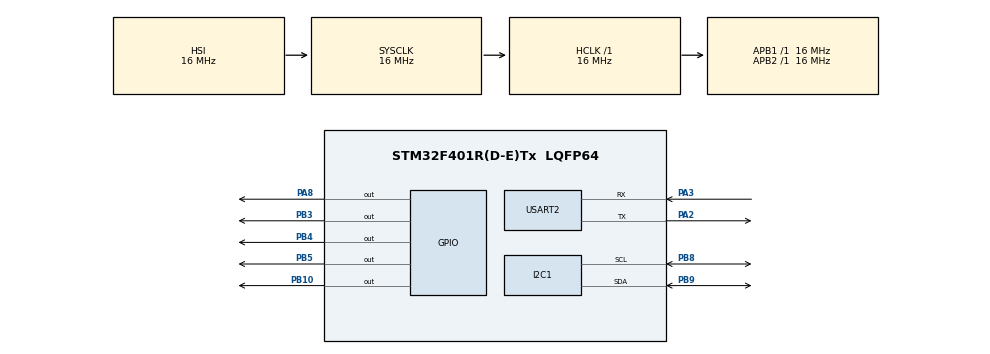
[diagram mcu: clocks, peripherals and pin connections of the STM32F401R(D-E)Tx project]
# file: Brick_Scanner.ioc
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Mcu.Family=STM32F4
Mcu.Name=STM32F401R(D-E)Tx
Mcu.Package=LQFP64
NVIC.PriorityGroup=NVIC_PRIORITYGROUP_4
PA2.Mode=Asynchronous
PA2.Signal=USART2_TX
PA3.Mode=Asynchronous
PA3.Signal=USART2_RX
PA8.Signal=GPIO_Output
PB10.Signal=GPIO_Output
PB3.Signal=GPIO_Output
PB4.Signal=GPIO_Output
PB5.Signal=GPIO_Output
PB8.Mode=I2C
PB8.Signal=I2C1_SCL
PB9.Mode=I2C
PB9.Signal=I2C1_SDA
ProjectManager.HeapSize=0x200
ProjectManager.StackSize=0x400
ProjectManager.TargetToolchain=STM32CubeIDE
RCC.48MHZClocksFreq_Value=48000000
RCC.AHBFreq_Value=16000000
RCC.APB1Freq_Value=16000000
RCC.APB1TimFreq_Value=16000000
RCC.APB2Freq_Value=16000000
RCC.APB2TimFreq_Value=16000000
RCC.CortexFreq_Value=16000000
RCC.HCLKFreq_Value=16000000
RCC.HSE_VALUE=25000000
RCC.HSI_VALUE=16000000
RCC.LSE_VALUE=32768
RCC.SYSCLKFreq_VALUE=16000000
RCC.VCOOutputFreq_Value=192000000
TIM1.Prescaler=16-1
USART2.VirtualMode=VM_ASYNC
VP_TIM1_VS_ClockSourceINT.Mode=Internal
board=custom

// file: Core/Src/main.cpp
/* USER CODE BEGIN Header */
/**
  ******************************************************************************
  * @file           : main.cpp
  * @brief          : Main program body
  ******************************************************************************
  * @attention
  *
  * Copyright (c) 2023 STMicroelectronics.
  * All rights reserved.
  *
  * This software is licensed under terms that can be found in the LICENSE file
  * in the root directory of this software component.
  * If no LICENSE file comes with this software, it is provided AS-IS.
  *
  ******************************************************************************
  */
/* USER CODE END Header */
#include <main.hpp>
#include <stepper.hpp>

I2C_HandleTypeDef hi2c1;

TIM_HandleTypeDef htim1;

UART_HandleTypeDef huart2;

void SystemClock_Config(void);
static void MX_GPIO_Init(void);
static void MX_I2C1_Init(void);
static void MX_USART2_UART_Init(void);
static void MX_TIM1_Init(void);

/* USER CODE BEGIN 0 */

void delay_us (uint32_t us)
{
	__HAL_TIM_SET_COUNTER(&htim1, 0);  // set the counter value a 0
	while (__HAL_TIM_GET_COUNTER(&htim1) < us);  // wait for the counter to reach the us input in the parameter
}

/* USER CODE END 0 */

int main(void)
{

  /* MCU Configuration--------------------------------------------------------*/

  /* Reset of all peripherals, Initializes the Flash interface and the Systick. */

	HAL_Init();

  /* Configure the system clock */
  SystemClock_Config();

  /* Initialize all configured peripherals */

  MX_GPIO_Init();
  MX_I2C1_Init();
  MX_USART2_UART_Init();
  MX_TIM1_Init();

  /* USER CODE BEGIN 2 */

  Pin base_step = Pin(GPIOB, GPIO_PIN_4);
  Pin base_direction = Pin(GPIOB, GPIO_PIN_10);
  Pin arm_step = Pin(GPIOB, GPIO_PIN_3);
  Pin arm_direction = Pin(GPIOB, GPIO_PIN_5);

  Pin arm_MS1 = Pin(GPIOA, GPIO_PIN_8);
  arm_MS1.write_pin(HIGH);

  Stepper base_motor = Stepper(&base_step, &base_direction, 8);
  Stepper arm_motor = Stepper(&arm_step, &arm_direction, 64*5);

  HAL_TIM_Base_Start(&htim1);

  /* USER CODE END 2 */

  /* Infinite loop */
  /* USER CODE BEGIN WHILE */
  while (1)
  {
	  arm_motor.rotate_angle(360, true, 60);
	  HAL_Delay(1000);
	  arm_motor.rotate_angle(360, false, 60);
	  HAL_Delay(1000);
	  //arm_motor.rotate_angle(360, false, 1000);
	  //HAL_Delay(1);

    /* USER CODE END WHILE */

  }
}

void SystemClock_Config(void)
{
  RCC_OscInitTypeDef RCC_OscInitStruct = {0};
  RCC_ClkInitTypeDef RCC_ClkInitStruct = {0};

  /** Configure the main internal regulator output voltage
  */
  __HAL_RCC_PWR_CLK_ENABLE();
  __HAL_PWR_VOLTAGESCALING_CONFIG(PWR_REGULATOR_VOLTAGE_SCALE2);

  /** Initializes the RCC Oscillators according to the specified parameters
  * in the RCC_OscInitTypeDef structure.
  */
  RCC_OscInitStruct.OscillatorType = RCC_OSCILLATORTYPE_HSI;
  RCC_OscInitStruct.HSIState = RCC_HSI_ON;
  RCC_OscInitStruct.HSICalibrationValue = RCC_HSICALIBRATION_DEFAULT;
  RCC_OscInitStruct.PLL.PLLState = RCC_PLL_NONE;
  if (HAL_RCC_OscConfig(&RCC_OscInitStruct) != HAL_OK)
  {
    Error_Handler();
  }

  /** Initializes the CPU, AHB and APB buses clocks
  */
  RCC_ClkInitStruct.ClockType = RCC_CLOCKTYPE_HCLK|RCC_CLOCKTYPE_SYSCLK
                              |RCC_CLOCKTYPE_PCLK1|RCC_CLOCKTYPE_PCLK2;
  RCC_ClkInitStruct.SYSCLKSource = RCC_SYSCLKSOURCE_HSI;
  RCC_ClkInitStruct.AHBCLKDivider = RCC_SYSCLK_DIV1;
  RCC_ClkInitStruct.APB1CLKDivider = RCC_HCLK_DIV1;
  RCC_ClkInitStruct.APB2CLKDivider = RCC_HCLK_DIV1;

  if (HAL_RCC_ClockConfig(&RCC_ClkInitStruct, FLASH_LATENCY_0) != HAL_OK)
  {
    Error_Handler();
  }
}

static void MX_I2C1_Init(void)
{

  hi2c1.Instance = I2C1;
  hi2c1.Init.ClockSpeed = 100000;
  hi2c1.Init.DutyCycle = I2C_DUTYCYCLE_2;
  hi2c1.Init.OwnAddress1 = 0;
  hi2c1.Init.AddressingMode = I2C_ADDRESSINGMODE_7BIT;
  hi2c1.Init.DualAddressMode = I2C_DUALADDRESS_DISABLE;
  hi2c1.Init.OwnAddress2 = 0;
  hi2c1.Init.GeneralCallMode = I2C_GENERALCALL_DISABLE;
  hi2c1.Init.NoStretchMode = I2C_NOSTRETCH_DISABLE;
  if (HAL_I2C_Init(&hi2c1) != HAL_OK)
  {
    Error_Handler();
  }

}

static void MX_TIM1_Init(void)
{

  TIM_ClockConfigTypeDef sClockSourceConfig = {0};
  TIM_MasterConfigTypeDef sMasterConfig = {0};

  htim1.Instance = TIM1;
  htim1.Init.Prescaler = 16-1;
  htim1.Init.CounterMode = TIM_COUNTERMODE_UP;
  htim1.Init.Period = 65535;
  htim1.Init.ClockDivision = TIM_CLOCKDIVISION_DIV1;
  htim1.Init.RepetitionCounter = 0;
  htim1.Init.AutoReloadPreload = TIM_AUTORELOAD_PRELOAD_DISABLE;
  if (HAL_TIM_Base_Init(&htim1) != HAL_OK)
  {
    Error_Handler();
  }
  sClockSourceConfig.ClockSource = TIM_CLOCKSOURCE_INTERNAL;
  if (HAL_TIM_ConfigClockSource(&htim1, &sClockSourceConfig) != HAL_OK)
  {
    Error_Handler();
  }
  sMasterConfig.MasterOutputTrigger = TIM_TRGO_RESET;
  sMasterConfig.MasterSlaveMode = TIM_MASTERSLAVEMODE_DISABLE;
  if (HAL_TIMEx_MasterConfigSynchronization(&htim1, &sMasterConfig) != HAL_OK)
  {
    Error_Handler();
  }

}

static void MX_USART2_UART_Init(void)
{

  huart2.Instance = USART2;
  huart2.Init.BaudRate = 115200;
  huart2.Init.WordLength = UART_WORDLENGTH_8B;
  huart2.Init.StopBits = UART_STOPBITS_1;
  huart2.Init.Parity = UART_PARITY_NONE;
  huart2.Init.Mode = UART_MODE_TX_RX;
  huart2.Init.HwFlowCtl = UART_HWCONTROL_NONE;
  huart2.Init.OverSampling = UART_OVERSAMPLING_16;
  if (HAL_UART_Init(&huart2) != HAL_OK)
  {
    Error_Handler();
  }

}

static void MX_GPIO_Init(void)
{
  GPIO_InitTypeDef GPIO_InitStruct = {0};

  /* GPIO Ports Clock Enable */
  __HAL_RCC_GPIOA_CLK_ENABLE();
  __HAL_RCC_GPIOB_CLK_ENABLE();

  /*Configure GPIO pin Output Level */
  HAL_GPIO_WritePin(GPIOB, GPIO_PIN_10|GPIO_PIN_3|GPIO_PIN_4|GPIO_PIN_5, GPIO_PIN_RESET);

  /*Configure GPIO pin Output Level */
  HAL_GPIO_WritePin(GPIOA, GPIO_PIN_8, GPIO_PIN_RESET);

  /*Configure GPIO pins : PB10 PB3 PB4 PB5 */
  GPIO_InitStruct.Pin = GPIO_PIN_10|GPIO_PIN_3|GPIO_PIN_4|GPIO_PIN_5;
  GPIO_InitStruct.Mode = GPIO_MODE_OUTPUT_PP;
  GPIO_InitStruct.Pull = GPIO_NOPULL;
  GPIO_InitStruct.Speed = GPIO_SPEED_FREQ_LOW;
  HAL_GPIO_Init(GPIOB, &GPIO_InitStruct);

  /*Configure GPIO pin : PA8 */
  GPIO_InitStruct.Pin = GPIO_PIN_8;
  GPIO_InitStruct.Mode = GPIO_MODE_OUTPUT_PP;
  GPIO_InitStruct.Pull = GPIO_NOPULL;
  GPIO_InitStruct.Speed = GPIO_SPEED_FREQ_LOW;
  HAL_GPIO_Init(GPIOA, &GPIO_InitStruct);

}

void Error_Handler(void)
{
  __disable_irq();
  while (1)
  {
  }
}
